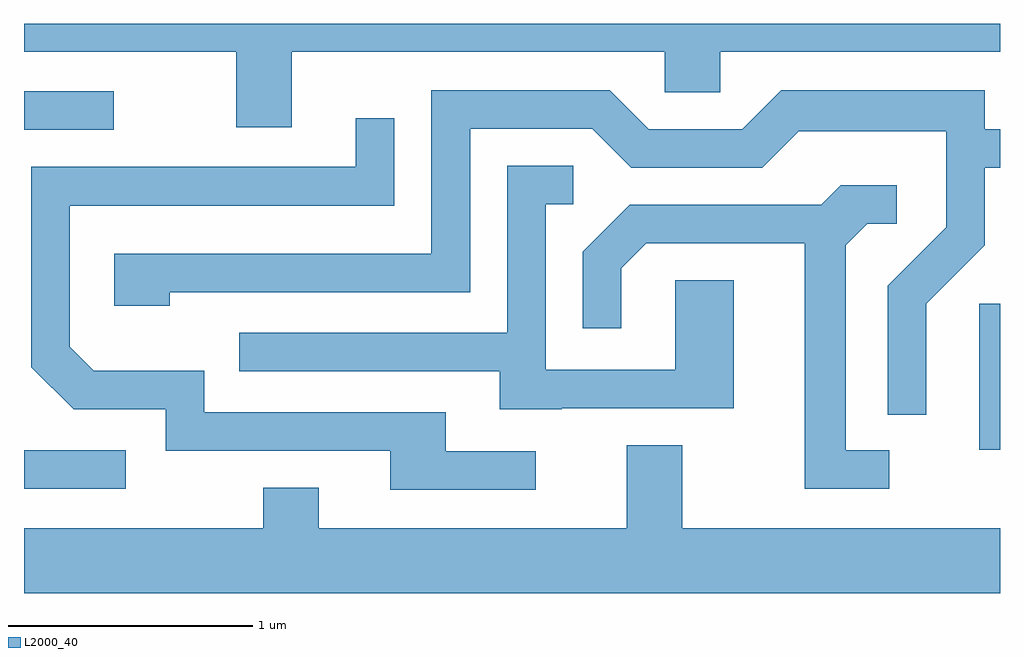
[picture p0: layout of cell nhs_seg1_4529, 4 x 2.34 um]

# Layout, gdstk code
import gdstk
lib = gdstk.Library(unit=1e-6, precision=1e-09)
def R(c, l, rs):  # rectangles x0, y0, x1, y1
    for r in rs: c.add(gdstk.rectangle(r[:2], r[2:], *l))
def P(c, l, *ps):  # polygons
    for p in ps: c.add(gdstk.Polygon(p, *l))
L2000_40 = (2000, 40)

nhs_seg1_4529 = lib.new_cell('nhs_seg1_4529')
R(nhs_seg1_4529, L2000_40, [(321.611,877.806,322.028,877.964), (325.526,877.966,325.611,878.564), (321.611,879.276,321.978,879.434)])
P(nhs_seg1_4529, L2000_40, [(322.709,879.596),(324.236,879.596),(324.236,879.431),(324.464,879.431),(324.464,879.596),(325.611,879.596),(325.611,879.712),(321.611,879.712),(321.611,879.596),(322.481,879.596),(322.481,879.286),(322.709,879.286)],
  [(325.309,878.564),(325.549,878.804),(325.549,879.121),(325.611,879.121),(325.611,879.279),(325.549,879.279),(325.549,879.439),(324.714,879.439),(324.554,879.279),(324.172,879.279),(324.012,879.439),(323.281,879.439),(323.281,878.769),(321.981,878.769),(321.981,878.556),(322.209,878.556),(322.209,878.611),(323.439,878.611),(323.439,879.281),(323.939,879.281),(324.099,879.121),(324.637,879.121),(324.787,879.271),(325.391,879.271),(325.391,878.877),(325.151,878.637),(325.151,878.108),(325.309,878.108)],
  [(323.708,877.959),(323.339,877.959),(323.339,878.119),(322.349,878.119),(322.349,878.289),(321.897,878.289),(321.799,878.387),(321.799,878.966),(323.129,878.966),(323.129,879.323),(322.971,879.323),(322.971,879.124),(321.641,879.124),(321.641,878.304),(321.814,878.131),(322.191,878.131),(322.191,877.961),(323.111,877.961),(323.111,877.801),(323.708,877.801)],
  [(323.815,878.136),(324.519,878.136),(324.519,878.659),(324.281,878.659),(324.281,878.294),(323.749,878.294),(323.749,878.971),(323.863,878.971),(323.863,879.129),(323.591,879.129),(323.591,878.444),(322.493,878.444),(322.493,878.286),(323.561,878.286),(323.561,878.131),(323.815,878.131)],
  [(325.158,877.964),(324.979,877.964),(324.979,878.804),(325.067,878.891),(325.188,878.891),(325.188,879.049),(324.959,879.049),(324.879,878.969),(324.094,878.969),(323.901,878.777),(323.901,878.463),(324.059,878.463),(324.059,878.709),(324.162,878.811),(324.811,878.811),(324.811,877.806),(325.158,877.806)],
  [(325.611,877.644),(324.309,877.644),(324.309,877.984),(324.081,877.984),(324.081,877.644),(322.819,877.644),(322.819,877.809),(322.591,877.809),(322.591,877.644),(321.611,877.644),(321.611,877.376),(325.611,877.376)])

lib.write_gds('nhs_seg1_4529.gds')
